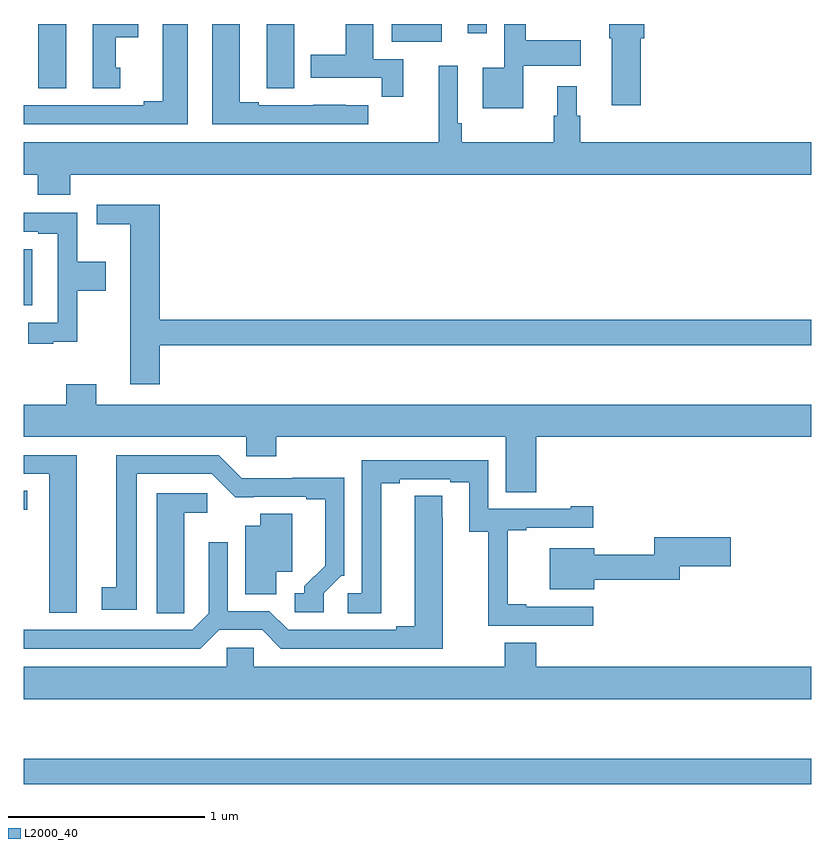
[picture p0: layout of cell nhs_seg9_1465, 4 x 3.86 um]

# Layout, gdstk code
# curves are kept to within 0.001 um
import gdstk
lib = gdstk.Library(unit=1e-6, precision=1e-09)
def R(c, l, rs):  # rectangles x0, y0, x1, y1
    for r in rs: c.add(gdstk.rectangle(r[:2], r[2:], *l))
def P(c, l, *ps):  # polygons
    for p in ps: c.add(gdstk.Polygon(p, *l))
L2000_40 = (2000, 40)

nhs_seg9_1465 = lib.new_cell('nhs_seg9_1465')
R(nhs_seg9_1465, L2000_40, [(193,1210.642,197,1210.771), (193,1212.033,193.018,1212.131), (193,1213.073,193.045,1213.357), (193.076,1214.175,193.216,1214.5), (194.87,1214.411,195.124,1214.5), (195.254,1214.454,195.351,1214.5)])
P(nhs_seg9_1465, L2000_40, [(195.538,1214.288),(195.829,1214.288),(195.829,1214.418),(195.55,1214.418),(195.55,1214.5),(195.441,1214.5),(195.441,1214.278),(195.332,1214.278),(195.332,1214.072),(195.538,1214.072)],
  [(193.492,1214.277),(193.468,1214.277),(193.468,1214.432),(193.582,1214.432),(193.582,1214.5),(193.352,1214.5),(193.352,1214.175),(193.492,1214.175)],
  [(194.374,1214.5),(194.234,1214.5),(194.234,1214.281),(194.235,1214.281),(194.235,1214.173),(194.374,1214.173)],
  [(196.133,1214.427),(196.151,1214.427),(196.151,1214.5),(195.973,1214.5),(195.973,1214.427),(195.986,1214.427),(195.986,1214.088),(196.133,1214.088)],
  [(194.927,1214.322),(194.776,1214.322),(194.776,1214.5),(194.636,1214.5),(194.636,1214.343),(194.459,1214.343),(194.459,1214.226),(194.818,1214.226),(194.818,1214.13),(194.927,1214.13)],
  [(194.749,1214.088),(194.636,1214.088),(194.636,1214.089),(194.47,1214.089),(194.47,1214.088),(194.194,1214.088),(194.194,1214.103),(194.098,1214.103),(194.098,1214.5),(193.958,1214.5),(193.958,1213.992),(194.749,1213.992)],
  [(193.834,1214.5),(193.706,1214.5),(193.706,1214.108),(193.61,1214.108),(193.61,1214.088),(193,1214.088),(193,1213.992),(193.834,1213.992)],
  [(193.238,1213.736),(197,1213.736),(197,1213.9),(195.827,1213.9),(195.827,1214.034),(195.808,1214.034),(195.808,1214.185),(195.71,1214.185),(195.71,1214.034),(195.691,1214.034),(195.691,1213.9),(195.224,1213.9),(195.224,1213.996),(195.204,1213.996),(195.204,1214.287),(195.107,1214.287),(195.107,1213.9),(193,1213.9),(193,1213.736),(193.073,1213.736),(193.073,1213.634),(193.238,1213.634)],
  [(193.691,1212.87),(197,1212.87),(197,1212.998),(193.691,1212.998),(193.691,1213.582),(193.371,1213.582),(193.371,1213.484),(193.541,1213.484),(193.541,1212.672),(193.691,1212.672)],
  [(193.151,1212.887),(193.274,1212.887),(193.274,1213.147),(193.417,1213.147),(193.417,1213.294),(193.274,1213.294),(193.274,1213.542),(193,1213.542),(193,1213.446),(193.076,1213.446),(193.076,1213.434),(193.173,1213.434),(193.173,1212.984),(193.023,1212.984),(193.023,1212.876),(193.151,1212.876)],
  [(195.602,1212.404),(197,1212.404),(197,1212.568),(193.369,1212.568),(193.369,1212.67),(193.217,1212.67),(193.217,1212.568),(193,1212.568),(193,1212.404),(194.13,1212.404),(194.13,1212.306),(194.282,1212.306),(194.282,1212.404),(195.449,1212.404),(195.449,1212.124),(195.602,1212.124)],
  [(194.523,1211.61),(194.613,1211.7),(194.628,1211.7),(194.628,1212.197),(194.365,1212.197),(194.365,1212.195),(194.109,1212.195),(193.992,1212.312),(193.472,1212.312),(193.472,1211.642),(193.398,1211.642),(193.398,1211.526),(193.576,1211.526),(193.576,1212.216),(193.956,1212.216),(194.074,1212.098),(194.435,1212.099),(194.435,1212.087),(194.531,1212.087),(194.531,1211.75),(194.426,1211.645),(194.426,1211.61),(194.376,1211.61),(194.376,1211.514),(194.523,1211.514)],
  [(193.27,1212.312),(193,1212.312),(193,1212.216),(193.13,1212.216),(193.13,1211.511),(193.27,1211.511)],
  [(195.892,1211.541),(195.553,1211.541),(195.553,1211.554),(195.458,1211.554),(195.458,1211.931),(195.553,1211.931),(195.553,1211.943),(195.892,1211.943),(195.892,1212.052),(195.779,1212.052),(195.779,1212.039),(195.36,1212.039),(195.36,1212.285),(194.718,1212.285),(194.718,1211.61),(194.646,1211.61),(194.646,1211.509),(194.815,1211.509),(194.815,1212.169),(194.911,1212.169),(194.911,1212.189),(195.167,1212.189),(195.167,1212.174),(195.263,1212.174),(195.263,1211.923),(195.358,1211.923),(195.358,1211.445),(195.892,1211.445)],
  [(193.815,1211.617),(193.816,1211.617),(193.816,1212.02),(193.933,1212.02),(193.933,1212.117),(193.676,1212.117),(193.676,1211.509),(193.815,1211.509)],
  [(193.993,1211.424),(194.211,1211.424),(194.307,1211.328),(195.127,1211.328),(195.126,1212.104),(194.987,1212.104),(194.987,1211.444),(194.891,1211.444),(194.891,1211.424),(194.343,1211.424),(194.247,1211.52),(194.037,1211.52),(194.037,1211.869),(193.941,1211.869),(193.941,1211.508),(193.857,1211.424),(193,1211.424),(193,1211.328),(193.897,1211.328)],
  [(194.284,1211.72),(194.365,1211.72),(194.365,1212.014),(194.201,1212.014),(194.201,1211.953),(194.126,1211.953),(194.126,1211.605),(194.284,1211.605)],
  [(195.898,1211.679),(196.33,1211.679),(196.33,1211.747),(196.591,1211.747),(196.591,1211.894),(196.202,1211.894),(196.202,1211.807),(195.898,1211.807),(195.898,1211.839),(195.671,1211.839),(195.671,1211.63),(195.898,1211.63)],
  [(194.031,1211.334),(194.031,1211.236),(193,1211.236),(193,1211.072),(197,1211.072),(197,1211.236),(195.602,1211.236),(195.602,1211.36),(195.442,1211.36),(195.442,1211.236),(194.169,1211.236),(194.169,1211.334)])

lib.write_gds('nhs_seg9_1465.gds')
